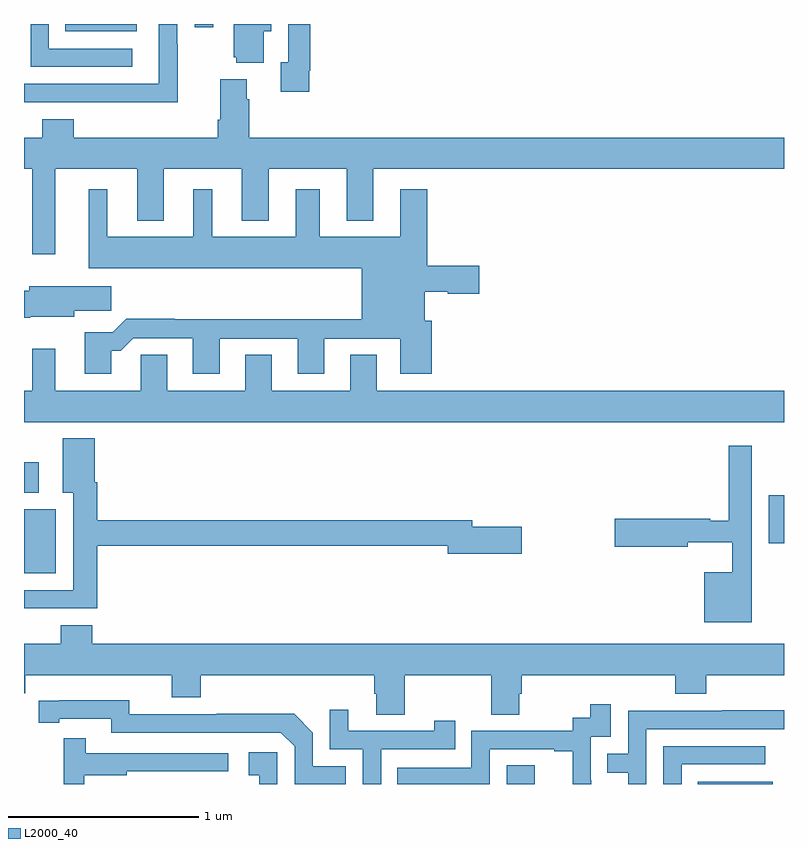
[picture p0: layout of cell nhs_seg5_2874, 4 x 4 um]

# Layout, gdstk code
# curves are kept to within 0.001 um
import gdstk
lib = gdstk.Library(unit=1e-6, precision=1e-09)
def R(c, l, rs):  # rectangles x0, y0, x1, y1
    for r in rs: c.add(gdstk.rectangle(r[:2], r[2:], *l))
def P(c, l, *ps):  # polygons
    for p in ps: c.add(gdstk.Polygon(p, *l))
L2000_40 = (2000, 40)

nhs_seg5_2874 = lib.new_cell('nhs_seg5_2874')
R(nhs_seg5_2874, L2000_40, [(279.54,910.799,279.688,910.897), (280.546,910.799,280.942,910.81), (277,911.909,277.168,912.244), (280.919,912.065,281,912.319), (277,912.333,277.078,912.493), (277.216,914.762,277.594,914.799), (277.899,914.781,277.995,914.799)])
P(nhs_seg5_2874, L2000_40, [(277.809,914.693),(277.806,914.693),(277.806,914.799),(277.71,914.799),(277.71,914.484),(277,914.484),(277,914.388),(277.345,914.388),(277.345,914.387),(277.809,914.387)],
  [(277.57,914.67),(277.131,914.67),(277.131,914.799),(277.035,914.799),(277.035,914.574),(277.57,914.574)],
  [(278.263,914.762),(278.302,914.762),(278.302,914.799),(278.105,914.799),(278.105,914.625),(278.117,914.625),(278.117,914.594),(278.263,914.594)],
  [(278.5,914.554),(278.507,914.554),(278.507,914.799),(278.391,914.799),(278.391,914.598),(278.351,914.598),(278.351,914.442),(278.5,914.442)],
  [(277.165,914.036),(277.595,914.036),(277.595,913.763),(277.735,913.763),(277.735,914.036),(278.147,914.036),(278.147,913.763),(278.287,913.763),(278.287,914.036),(278.699,914.036),(278.699,913.763),(278.839,913.763),(278.839,914.036),(281,914.036),(281,914.2),(278.186,914.2),(278.186,914.402),(278.173,914.402),(278.173,914.509),(278.033,914.509),(278.033,914.296),(278.021,914.296),(278.021,914.2),(277.262,914.2),(277.262,914.299),(277.097,914.299),(277.097,914.2),(277,914.2),(277,914.036),(277.044,914.036),(277.044,913.587),(277.165,913.587)],
  [(277.459,913.079),(277.508,913.079),(277.575,913.146),(277.889,913.146),(277.889,912.957),(278.029,912.957),(278.029,913.143),(278.441,913.143),(278.441,912.957),(278.581,912.957),(278.581,913.143),(278.981,913.143),(278.981,912.957),(279.146,912.957),(279.146,913.236),(279.109,913.236),(279.109,913.391),(279.229,913.391),(279.229,913.379),(279.397,913.379),(279.397,913.526),(279.122,913.526),(279.122,913.93),(278.981,913.93),(278.981,913.678),(278.557,913.678),(278.557,913.93),(278.429,913.93),(278.429,913.678),(277.99,913.678),(277.99,913.93),(277.892,913.93),(277.892,913.678),(277.438,913.678),(277.438,913.93),(277.34,913.93),(277.34,913.514),(278.777,913.514),(278.777,913.244),(277.793,913.244),(277.793,913.247),(277.538,913.247),(277.468,913.177),(277.319,913.177),(277.319,912.957),(277.459,912.957)],
  [(277.032,913.259),(277.264,913.259),(277.264,913.291),(277.459,913.291),(277.459,913.42),(277.028,913.42),(277.028,913.394),(277,913.394),(277,913.252),(277.032,913.252)],
  [(281,912.868),(278.857,912.868),(278.857,913.058),(278.717,913.058),(278.717,912.868),(278.305,912.868),(278.305,913.058),(278.165,913.058),(278.165,912.868),(277.753,912.868),(277.753,913.058),(277.614,913.058),(277.614,912.868),(277.165,912.868),(277.165,913.09),(277.044,913.09),(277.044,912.868),(277,912.868),(277,912.704),(281,912.704)],
  [(277.385,912.052),(279.23,912.052),(279.23,912.01),(279.619,912.01),(279.619,912.152),(279.358,912.152),(279.358,912.188),(277.385,912.188),(277.385,912.386),(277.372,912.386),(277.372,912.619),(277.205,912.619),(277.205,912.332),(277.259,912.332),(277.259,911.82),(277,911.82),(277,911.723),(277.385,911.723)],
  [(280.831,912.58),(280.71,912.58),(280.71,912.184),(280.613,912.184),(280.613,912.194),(280.11,912.194),(280.11,912.047),(280.494,912.047),(280.494,912.071),(280.727,912.071),(280.727,911.914),(280.58,911.914),(280.58,911.651),(280.831,911.651)],
  [(279.003,911.372),(279.46,911.372),(279.46,911.164),(279.607,911.164),(279.607,911.274),(279.62,911.274),(279.62,911.372),(280.427,911.372),(280.427,911.273),(280.592,911.273),(280.592,911.372),(281,911.372),(281,911.536),(277.358,911.536),(277.358,911.635),(277.193,911.635),(277.193,911.536),(277,911.536),(277,911.276),(277.007,911.276),(277.007,911.372),(277.778,911.372),(277.778,911.255),(277.931,911.255),(277.931,911.372),(278.843,911.372),(278.843,911.274),(278.855,911.274),(278.855,911.164),(279.003,911.164)],
  [(278.694,910.893),(278.52,910.893),(278.52,911.07),(278.422,911.168),(278.014,911.168),(278.014,911.166),(277.554,911.166),(277.554,911.239),(277.078,911.238),(277.078,911.122),(277.186,911.122),(277.186,911.142),(277.458,911.142),(277.458,911.07),(278.352,911.07),(278.424,910.998),(278.424,910.799),(278.694,910.799)],
  [(279.45,910.983),(279.791,910.983),(279.791,910.971),(279.887,910.971),(279.887,910.799),(279.986,910.799),(279.986,910.82),(279.984,910.82),(279.984,911.049),(280.089,911.049),(280.089,911.218),(279.981,911.218),(279.981,911.148),(279.888,911.148),(279.888,911.079),(279.354,911.079),(279.354,910.884),(278.965,910.884),(278.965,910.799),(279.45,910.799)],
  [(278.88,910.983),(279.269,910.983),(279.269,911.131),(279.158,911.131),(279.158,911.079),(278.707,911.079),(278.707,911.191),(278.61,911.191),(278.61,910.983),(278.784,910.983),(278.784,910.799),(278.88,910.799)],
  [(280.275,911.088),(281,911.088),(281,911.186),(280.675,911.186),(280.675,911.184),(280.179,911.184),(280.179,910.959),(280.069,910.959),(280.069,910.858),(280.179,910.858),(280.179,910.799),(280.275,910.799)],
  [(277.318,910.846),(277.541,910.846),(277.541,910.866),(278.074,910.866),(278.074,910.962),(277.325,910.962),(277.325,911.041),(277.208,911.041),(277.208,910.799),(277.318,910.799)],
  [(280.461,910.902),(280.9,910.902),(280.9,910.998),(280.365,910.998),(280.365,910.799),(280.461,910.799)],
  [(278.334,910.966),(278.184,910.966),(278.184,910.845),(278.237,910.845),(278.237,910.799),(278.334,910.799)])

lib.write_gds('nhs_seg5_2874.gds')
